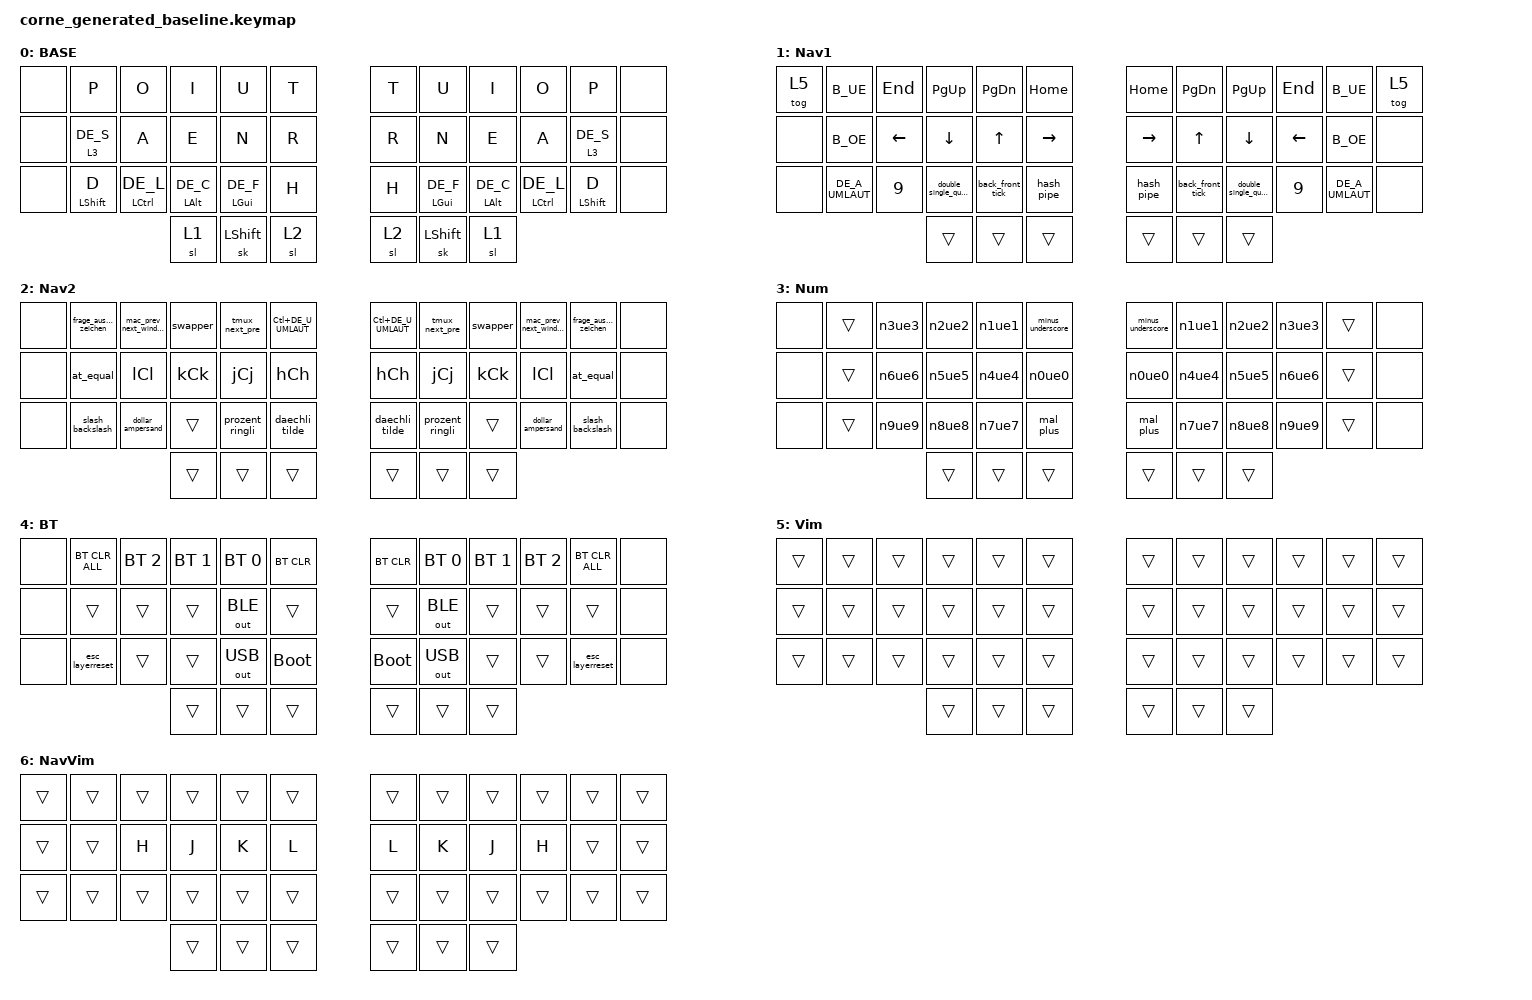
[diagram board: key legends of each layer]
#include "keys_de_swiss.h"
#include <behaviors.dtsi>
#include <dt-bindings/zmk/bt.h>
#include <dt-bindings/zmk/keys.h>
#include <dt-bindings/zmk/outputs.h>

//&default_transform { col-offset = <0>; };

#define BASE 0
#define NAV  1
#define SYM  2
#define ADJ  3

/ {
    combos {
        compatible = "zmk,combos";

        // BEGIN combos
        horiz_base_0_1 {
            bindings = <&kp DE_X>;
            key-positions = <1 2>;
            layers = <0>;
        };

        horiz_base_0_2 {
            bindings = <&kp DE_W>;
            key-positions = <2 3>;
            layers = <0>;
        };

        horiz_base_0_3 {
            bindings = <&kp DE_M>;
            key-positions = <3 4>;
            layers = <0>;
        };

        horiz_base_0_4 {
            bindings = <&kp DE_Z>;
            key-positions = <4 5>;
            layers = <0>;
        };

        horiz_base_0_7 {
            bindings = <&kp DE_Z>;
            key-positions = <7 6>;
            layers = <0>;
        };

        horiz_base_0_8 {
            bindings = <&kp DE_M>;
            key-positions = <8 7>;
            layers = <0>;
        };

        horiz_base_0_9 {
            bindings = <&kp DE_W>;
            key-positions = <9 8>;
            layers = <0>;
        };

        horiz_base_0_10 {
            bindings = <&kp DE_X>;
            key-positions = <10 9>;
            layers = <0>;
        };

        horiz_base_1_1 {
            bindings = <&kp DE_Q>;
            key-positions = <13 14>;
            layers = <0>;
        };

        horiz_base_1_2 {
            bindings = <&kp TAB>;
            key-positions = <14 15>;
            layers = <0>;
        };

        horiz_base_1_3 {
            bindings = <&kp DE_V>;
            key-positions = <15 16>;
            layers = <0>;
        };

        horiz_base_1_4 {
            bindings = <&kp DE_G>;
            key-positions = <16 17>;
            layers = <0>;
        };

        horiz_base_1_7 {
            bindings = <&kp DE_G>;
            key-positions = <19 18>;
            layers = <0>;
        };

        horiz_base_1_8 {
            bindings = <&kp DE_V>;
            key-positions = <20 19>;
            layers = <0>;
        };

        horiz_base_1_9 {
            bindings = <&kp TAB>;
            key-positions = <21 20>;
            layers = <0>;
        };

        horiz_base_1_10 {
            bindings = <&kp DE_Q>;
            key-positions = <22 21>;
            layers = <0>;
        };

        horiz_base_2_1 {
            bindings = <&kp DE_Y>;
            key-positions = <25 26>;
            layers = <0>;
        };

        horiz_base_2_2 {
            bindings = <&kp DE_K>;
            key-positions = <26 27>;
            layers = <0>;
        };

        horiz_base_2_3 {
            bindings = <&kp DE_J>;
            key-positions = <27 28>;
            layers = <0>;
        };

        horiz_base_2_4 {
            bindings = <&kp DE_B>;
            key-positions = <28 29>;
            layers = <0>;
        };

        horiz_base_2_7 {
            bindings = <&kp DE_B>;
            key-positions = <31 30>;
            layers = <0>;
        };

        horiz_base_2_8 {
            bindings = <&kp DE_J>;
            key-positions = <32 31>;
            layers = <0>;
        };

        horiz_base_2_9 {
            bindings = <&kp DE_K>;
            key-positions = <33 32>;
            layers = <0>;
        };

        horiz_base_2_10 {
            bindings = <&kp DE_Y>;
            key-positions = <34 33>;
            layers = <0>;
        };

        vert_base_0_1 {
            bindings = <&backspace_delete>;
            key-positions = <1 13>;
            layers = <0>;
        };

        vert_base_0_2 {
            bindings = <&round_brackets>;
            key-positions = <2 14>;
            layers = <0>;
        };

        vert_base_0_3 {
            bindings = <&esc_layerreset>;
            key-positions = <3 15>;
            layers = <0>;
        };

        vert_base_0_4 {
            bindings = <&sk LEFT_ALT>;
            key-positions = <4 16>;
            layers = <0>;
        };

        vert_base_0_5 {
            bindings = <&sk LEFT_GUI>;
            key-positions = <5 17>;
            layers = <0>;
        };

        vert_base_0_6 {
            bindings = <&sk LEFT_GUI>;
            key-positions = <6 18>;
            layers = <0>;
        };

        vert_base_0_7 {
            bindings = <&sk LEFT_ALT>;
            key-positions = <7 19>;
            layers = <0>;
        };

        vert_base_0_8 {
            bindings = <&esc_layerreset>;
            key-positions = <8 20>;
            layers = <0>;
        };

        vert_base_0_9 {
            bindings = <&round_brackets>;
            key-positions = <9 21>;
            layers = <0>;
        };

        vert_base_0_10 {
            bindings = <&backspace_delete>;
            key-positions = <10 22>;
            layers = <0>;
        };

        vert_base_1_1 {
            bindings = <&kp ENTER>;
            key-positions = <13 25>;
            layers = <0>;
        };

        vert_base_1_2 {
            bindings = <&square_brackets>;
            key-positions = <14 26>;
            layers = <0>;
        };

        vert_base_1_3 {
            bindings = <&kp SPACE>;
            key-positions = <15 27>;
            layers = <0>;
        };

        vert_base_1_4 {
            bindings = <&caps_word>;
            key-positions = <16 28>;
            layers = <0>;
        };

        vert_base_1_5 {
            bindings = <&sk LCTRL>;
            key-positions = <17 29>;
            layers = <0>;
        };

        vert_base_1_6 {
            bindings = <&sk LCTRL>;
            key-positions = <18 30>;
            layers = <0>;
        };

        vert_base_1_7 {
            bindings = <&caps_word>;
            key-positions = <19 31>;
            layers = <0>;
        };

        vert_base_1_8 {
            bindings = <&kp SPACE>;
            key-positions = <20 32>;
            layers = <0>;
        };

        vert_base_1_9 {
            bindings = <&square_brackets>;
            key-positions = <21 33>;
            layers = <0>;
        };

        vert_base_1_10 {
            bindings = <&kp ENTER>;
            key-positions = <22 34>;
            layers = <0>;
        };

        diag_down_base_0_3 {
            bindings = <&punkt_doppelpunkt>;
            key-positions = <3 16>;
            layers = <0>;
        };

        diag_down_base_0_4 {
            bindings = <&curly_brackets>;
            key-positions = <4 17>;
            layers = <0>;
        };

        diag_down_base_0_7 {
            bindings = <&curly_brackets>;
            key-positions = <7 18>;
            layers = <0>;
        };

        diag_down_base_0_8 {
            bindings = <&punkt_doppelpunkt>;
            key-positions = <8 19>;
            layers = <0>;
        };

        diag_down_base_1_3 {
            bindings = <&komma_strickpunkt>;
            key-positions = <15 28>;
            layers = <0>;
        };

        diag_down_base_1_4 {
            bindings = <&angled_brackets>;
            key-positions = <16 29>;
            layers = <0>;
        };

        diag_down_base_1_7 {
            bindings = <&angled_brackets>;
            key-positions = <19 30>;
            layers = <0>;
        };

        diag_down_base_1_8 {
            bindings = <&komma_strickpunkt>;
            key-positions = <20 31>;
            layers = <0>;
        };

        diag_up_base_1_4 {
            bindings = <&curly_brackets>;
            key-positions = <16 3>;
            layers = <0>;
        };

        diag_up_base_1_7 {
            bindings = <&curly_brackets>;
            key-positions = <19 8>;
            layers = <0>;
        };

        diag_up_base_2_3 {
            bindings = <&kp SPACE>;
            key-positions = <27 14>;
            layers = <0>;
        };

        diag_up_base_2_8 {
            bindings = <&kp SPACE>;
            key-positions = <32 21>;
            layers = <0>;
        };

        toBT {
            bindings = <&to 4>;
            key-positions = <1 2 3 4>;
            layers = <0>;
        };

        ae {
            bindings = <&M_UPPER_AEOEUE DE_A_UMLAUT>;
            key-positions = <36 25 37>;
            layers = <0>;
        };
        // END combos
    };

    macros {
        // BEGIN macros
        esc_layerreset: esc_layerreset {
            compatible = "zmk,behavior-macro";
            #binding-cells = <0>;
            bindings = <&kp ESCAPE &to 0>;
        };

        daechli: daechli {
            compatible = "zmk,behavior-macro";
            #binding-cells = <0>;
            bindings = <&kp DE_CARET &kp SPACE>;
        };

        tilde: tilde {
            compatible = "zmk,behavior-macro";
            #binding-cells = <0>;
            bindings = <&kp LA(DE_N) &kp SPACE>;
        };

        M_UPPER_AEOEUE: AE {
            compatible = "zmk,behavior-macro-one-param";
            #binding-cells = <1>;
            bindings =
                <&kp CAPSLOCK>,
                <&macro_pause_for_release>,
                <&macro_param_1to1>,
                <&kp MACRO_PLACEHOLDER>,
                <&kp CAPSLOCK>;
            wait-ms = <80>;
            tap-ms = <80>;
        };

        M_UE: M_UE {
            compatible = "zmk,behavior-macro";
            #binding-cells = <0>;
            bindings = <&kp CAPSLOCK &kp DE_U_UMLAUT &kp CAPSLOCK>;
            wait-ms = <20>;
            tap-ms = <20>;
        };

        M_OE: M_OE {
            compatible = "zmk,behavior-macro";
            #binding-cells = <0>;
            bindings = <&kp CAPSLOCK &kp DE_O_UMLAUT &kp CAPSLOCK>;
            wait-ms = <100>;
            tap-ms = <100>;
        };

        backtick_macro: backtick_macro {
            compatible = "zmk,behavior-macro";
            #binding-cells = <0>;
            bindings = <&kp DE_GRAVE &kp SPACE>;
        };

        fronttick_macro: fronttick_macro {
            compatible = "zmk,behavior-macro";
            #binding-cells = <0>;
            bindings = <&kp RA(EQUAL) &kp SPACE>;
        };

        ue1: ue1 {
            compatible = "zmk,behavior-macro";
            #binding-cells = <0>;
            bindings = <&kp DE_U_UMLAUT &kp DE_N1>;
        };

        ue2: ue2 {
            compatible = "zmk,behavior-macro";
            #binding-cells = <0>;
            bindings = <&kp DE_U_UMLAUT &kp DE_N2>;
        };

        ue3: ue3 {
            compatible = "zmk,behavior-macro";
            #binding-cells = <0>;
            bindings = <&kp DE_U_UMLAUT &kp DE_N3>;
        };

        ue4: ue4 {
            compatible = "zmk,behavior-macro";
            #binding-cells = <0>;
            bindings = <&kp DE_U_UMLAUT &kp DE_N4>;
        };

        ue5: ue5 {
            compatible = "zmk,behavior-macro";
            #binding-cells = <0>;
            bindings = <&kp DE_U_UMLAUT &kp DE_N5>;
        };

        ue6: ue6 {
            compatible = "zmk,behavior-macro";
            #binding-cells = <0>;
            bindings = <&kp DE_U_UMLAUT &kp DE_N6>;
        };

        ue7: ue7 {
            compatible = "zmk,behavior-macro";
            #binding-cells = <0>;
            bindings = <&kp DE_U_UMLAUT &kp DE_N7>;
        };

        ue8: ue8 {
            compatible = "zmk,behavior-macro";
            #binding-cells = <0>;
            bindings = <&kp DE_U_UMLAUT &kp DE_N8>;
        };

        ue9: ue9 {
            compatible = "zmk,behavior-macro";
            #binding-cells = <0>;
            bindings = <&kp DE_U_UMLAUT &kp DE_N9>;
        };

        ue0: ue0 {
            compatible = "zmk,behavior-macro";
            #binding-cells = <0>;
            bindings = <&kp DE_U_UMLAUT &kp DE_N0>;
        };

        tmux_next_window: tmux_next_window {
            compatible = "zmk,behavior-macro";
            #binding-cells = <0>;
            bindings = <&kp DE_U_UMLAUT &kp DE_N>;
        };

        tmux_prev_window: tmux_prev_window {
            compatible = "zmk,behavior-macro";
            #binding-cells = <0>;
            bindings = <&kp DE_U_UMLAUT &kp DE_P>;
        };
        // END macros
    };

    behaviors {
        // BEGIN behaviors
        lh_ht: lh_ht {
            compatible = "zmk,behavior-hold-tap";
            #binding-cells = <2>;
            bindings = <&kp>, <&kp>;
            hold-trigger-key-positions = <6 7 8 9 10 11 18 19 20 21 22 23 30 31 32 33 34 35>;
            flavor = "balanced";
            hold-trigger-on-release;
            quick-tap-ms = <150>;
            global-quick-tap;
            tapping-term-ms = <200>;
        };

        rh_ht: rh_ht {
            compatible = "zmk,behavior-hold-tap";
            #binding-cells = <2>;
            bindings = <&kp>, <&kp>;
            hold-trigger-key-positions = <0 1 2 3 4 5 12 13 14 15 16 17 24 25 26 27 28 29>;
            flavor = "balanced";
            hold-trigger-on-release;
            quick-tap-ms = <150>;
            global-quick-tap;
            tapping-term-ms = <200>;
        };

        square_brackets: square_brackets {
            compatible = "zmk,behavior-mod-morph";
            #binding-cells = <0>;
            bindings = <&kp LA(DE_N5)>, <&kp LA(DE_N6)>;
            mods = <(MOD_LSFT)>;
        };

        round_brackets: round_brackets {
            compatible = "zmk,behavior-mod-morph";
            #binding-cells = <0>;
            bindings = <&kp LS(DE_N8)>, <&kp LS(DE_N9)>;
            mods = <(MOD_LSFT)>;
        };

        angled_brackets: angled_brackets {
            compatible = "zmk,behavior-mod-morph";
            #binding-cells = <0>;
            bindings = <&kp DE_LESS_THAN>, <&kp DE_GREATER_THAN>;
            mods = <(MOD_LSFT)>;
        };

        curly_brackets: curly_brackets {
            compatible = "zmk,behavior-mod-morph";
            #binding-cells = <0>;
            bindings = <&kp LA(DE_N8)>, <&kp LA(DE_N9)>;
            mods = <(MOD_LSFT)>;
        };

        backspace_delete: backspace_delete {
            compatible = "zmk,behavior-mod-morph";
            #binding-cells = <0>;
            bindings = <&kp BACKSPACE>, <&kp DELETE>;
            mods = <(MOD_LSFT)>;
        };

        double_single_quote: double_single_quote {
            compatible = "zmk,behavior-mod-morph";
            #binding-cells = <0>;
            bindings = <&kp DE_DOUBLE_QUOTES>, <&kp MINUS>;
            mods = <(MOD_LSFT)>;
        };

        back_front_tick: back_front_tick {
            compatible = "zmk,behavior-mod-morph";
            #binding-cells = <0>;
            bindings = <&backtick_macro>, <&fronttick_macro>;
            mods = <(MOD_LSFT)>;
        };

        punkt_doppelpunkt: punkt_doppelpunkt {
            compatible = "zmk,behavior-mod-morph";
            #binding-cells = <0>;
            bindings = <&kp DE_DOT>, <&kp DE_COLON>;
            mods = <(MOD_LSFT)>;
        };

        komma_strickpunkt: komma_strickpunkt {
            compatible = "zmk,behavior-mod-morph";
            #binding-cells = <0>;
            bindings = <&kp DE_COMMA>, <&kp DE_SEMICOLON>;
            mods = <(MOD_LSFT)>;
        };

        frage_ausrufe_zeichen: frage_ausrufe_zeichen {
            compatible = "zmk,behavior-mod-morph";
            #binding-cells = <0>;
            bindings = <&kp DE_QUESTION>, <&kp DE_EXCLAMATION>;
            mods = <(MOD_LSFT)>;
        };

        daechli_tilde: daechli_tilde {
            compatible = "zmk,behavior-mod-morph";
            #binding-cells = <0>;
            bindings = <&daechli>, <&tilde>;
            mods = <(MOD_LSFT)>;
        };

        prozent_ringli: prozent_ringli {
            compatible = "zmk,behavior-mod-morph";
            #binding-cells = <0>;
            bindings = <&kp DE_PERCENT>, <&kp LS(NON_US_BSLH)>;
            mods = <(MOD_LSFT)>;
        };

        hash_pipe: hash_pipe {
            compatible = "zmk,behavior-mod-morph";
            #binding-cells = <0>;
            bindings = <&kp DE_HASH>, <&kp DE_PIPE>;
            mods = <(MOD_LSFT)>;
        };

        at_equal: at_equal {
            compatible = "zmk,behavior-mod-morph";
            #binding-cells = <0>;
            bindings = <&kp LA(DE_G)>, <&kp DE_EQUAL>;
            mods = <(MOD_LSFT)>;
        };

        dollar_ampersand: dollar_ampersand {
            compatible = "zmk,behavior-mod-morph";
            #binding-cells = <0>;
            bindings = <&kp DE_DOLLAR>, <&kp DE_AMPERSAND>;
            mods = <(MOD_LSFT)>;
        };

        slash_backslash: slash_backslash {
            compatible = "zmk,behavior-mod-morph";
            #binding-cells = <0>;
            bindings = <&kp DE_SLASH>, <&kp LS(LA(DE_N7))>;
            mods = <(MOD_LSFT)>;
        };

        mal_plus: mal_plus {
            compatible = "zmk,behavior-mod-morph";
            #binding-cells = <0>;
            bindings = <&kp DE_ASTERISK>, <&kp DE_PLUS>;
            mods = <(MOD_LSFT)>;
        };

        minus_underscore: minus_underscore {
            compatible = "zmk,behavior-mod-morph";
            #binding-cells = <0>;
            bindings = <&kp DE_MINUS>, <&kp DE_UNDER>;
            mods = <(MOD_LSFT)>;
        };

        B_AE: B_AE {
            compatible = "zmk,behavior-mod-morph";
            #binding-cells = <0>;
            bindings = <&kp DE_A_UMLAUT>, <&M_UPPER_AEOEUE DE_A_UMLAUT>;
            mods = <(MOD_LSFT)>;
        };

        B_UE: B_UE {
            compatible = "zmk,behavior-mod-morph";
            #binding-cells = <0>;
            bindings = <&kp DE_U_UMLAUT>, <&M_UE>;
            mods = <(MOD_LSFT)>;
        };

        B_OE: B_OE {
            compatible = "zmk,behavior-mod-morph";
            #binding-cells = <0>;
            bindings = <&kp DE_O_UMLAUT>, <&M_OE>;
            mods = <(MOD_LSFT)>;
        };

        hCh: hCh {
            compatible = "zmk,behavior-mod-morph";
            #binding-cells = <0>;
            bindings = <&kp DE_H>, <&kp LC(DE_H)>;
            mods = <(MOD_LSFT)>;
        };

        jCj: jCj {
            compatible = "zmk,behavior-mod-morph";
            #binding-cells = <0>;
            bindings = <&kp DE_J>, <&kp LC(DE_J)>;
            mods = <(MOD_LSFT)>;
        };

        kCk: kCk {
            compatible = "zmk,behavior-mod-morph";
            #binding-cells = <0>;
            bindings = <&kp DE_K>, <&kp LC(DE_K)>;
            mods = <(MOD_LSFT)>;
        };

        lCl: lCl {
            compatible = "zmk,behavior-mod-morph";
            #binding-cells = <0>;
            bindings = <&kp DE_L>, <&kp LC(DE_L)>;
            mods = <(MOD_LSFT)>;
        };

        n0ue0: n0ue0 {
            compatible = "zmk,behavior-mod-morph";
            #binding-cells = <0>;
            bindings = <&kp DE_N0>, <&ue0>;
            mods = <(MOD_LSFT)>;
        };

        n1ue1: n1ue1 {
            compatible = "zmk,behavior-mod-morph";
            #binding-cells = <0>;
            bindings = <&kp DE_N1>, <&ue1>;
            mods = <(MOD_LSFT)>;
        };

        n2ue2: n2ue2 {
            compatible = "zmk,behavior-mod-morph";
            #binding-cells = <0>;
            bindings = <&kp DE_N2>, <&ue2>;
            mods = <(MOD_LSFT)>;
        };

        n3ue3: n3ue3 {
            compatible = "zmk,behavior-mod-morph";
            #binding-cells = <0>;
            bindings = <&kp DE_N3>, <&ue3>;
            mods = <(MOD_LSFT)>;
        };

        n4ue4: n4ue4 {
            compatible = "zmk,behavior-mod-morph";
            #binding-cells = <0>;
            bindings = <&kp DE_N4>, <&ue4>;
            mods = <(MOD_LSFT)>;
        };

        n5ue5: n5ue5 {
            compatible = "zmk,behavior-mod-morph";
            #binding-cells = <0>;
            bindings = <&kp DE_N5>, <&ue5>;
            mods = <(MOD_LSFT)>;
        };

        n6ue6: n6ue6 {
            compatible = "zmk,behavior-mod-morph";
            #binding-cells = <0>;
            bindings = <&kp DE_N6>, <&ue6>;
            mods = <(MOD_LSFT)>;
        };

        n7ue7: n7ue7 {
            compatible = "zmk,behavior-mod-morph";
            #binding-cells = <0>;
            bindings = <&kp DE_N7>, <&ue7>;
            mods = <(MOD_LSFT)>;
        };

        n8ue8: n8ue8 {
            compatible = "zmk,behavior-mod-morph";
            #binding-cells = <0>;
            bindings = <&kp DE_N8>, <&ue8>;
            mods = <(MOD_LSFT)>;
        };

        n9ue9: n9ue9 {
            compatible = "zmk,behavior-mod-morph";
            #binding-cells = <0>;
            bindings = <&kp DE_N9>, <&ue9>;
            mods = <(MOD_LSFT)>;
        };

        tmux_next_pre: tmux_next_pre {
            compatible = "zmk,behavior-mod-morph";
            #binding-cells = <0>;
            bindings = <&tmux_next_window>, <&tmux_prev_window>;
            mods = <(MOD_LSFT)>;
        };

        mac_next_prev_app: mac_next_prev_app {
            compatible = "zmk,behavior-mod-morph";
            #binding-cells = <0>;
            bindings = <&kp LG(TAB)>, <&kp LG(LS(TAB))>;
            mods = <(MOD_LSFT)>;
        };

        mac_prev_next_window: mac_prev_next_window {
            compatible = "zmk,behavior-mod-morph";
            #binding-cells = <0>;
            bindings = <&kp LC(F9)>, <&kp LS(LC(F9))>;
            mods = <(MOD_LSFT)>;
        };

        swapper: swapper {
            compatible = "zmk,behavior-smart-toggle";
            #binding-cells = <0>;
            bindings = <&kp LGUI>, <&kp TAB>;
            ignored-key-positions = <37>;
        };
        // END behaviors
    };

    keymap {
        compatible = "zmk,keymap";

        // BEGIN keymap
        BASE {
            display-name = "BASE";
            bindings = <
&none &kp P &kp O &kp I &kp U &kp T &kp T &kp U &kp I &kp O &kp P &none
&none &lt 3 DE_S &kp A &kp E &kp N &kp R &kp R &kp N &kp E &kp A &lt 3 DE_S &none
&none &lh_ht LEFT_SHIFT D &lh_ht LCTRL DE_L &lh_ht LEFT_ALT DE_C &lh_ht LEFT_GUI DE_F &kp H &kp H &rh_ht LEFT_GUI DE_F &rh_ht LEFT_ALT DE_C &rh_ht LCTRL DE_L &rh_ht LEFT_SHIFT D &none
&sl 1 &sk LEFT_SHIFT &sl 2 &sl 2 &sk LEFT_SHIFT &sl 1
            >;
        };

        Nav1 {
            display-name = "Nav1";
            bindings = <
&tog 5 &B_UE &kp END &kp PG_UP &kp PG_DN &kp HOME &kp HOME &kp PG_DN &kp PG_UP &kp END &B_UE &tog 5
&none &B_OE &kp LEFT_ARROW &kp DOWN &kp UP &kp RIGHT_ARROW &kp RIGHT_ARROW &kp UP &kp DOWN &kp LEFT_ARROW &B_OE &none
&none &kp DE_A_UMLAUT &kp N9 &double_single_quote &back_front_tick &hash_pipe &hash_pipe &back_front_tick &double_single_quote &kp N9 &kp DE_A_UMLAUT &none
&trans &trans &trans &trans &trans &trans
            >;
        };

        Nav2 {
            display-name = "Nav2";
            bindings = <
&none &frage_ausrufe_zeichen &mac_prev_next_window &swapper &tmux_next_pre &kp LC(DE_U_UMLAUT) &kp LC(DE_U_UMLAUT) &tmux_next_pre &swapper &mac_prev_next_window &frage_ausrufe_zeichen &none
&none &at_equal &lCl &kCk &jCj &hCh &hCh &jCj &kCk &lCl &at_equal &none
&none &slash_backslash &dollar_ampersand &trans &prozent_ringli &daechli_tilde &daechli_tilde &prozent_ringli &trans &dollar_ampersand &slash_backslash &none
&trans &trans &trans &trans &trans &trans
            >;
        };

        Num {
            display-name = "Num";
            bindings = <
&none &trans &n3ue3 &n2ue2 &n1ue1 &minus_underscore &minus_underscore &n1ue1 &n2ue2 &n3ue3 &trans &none
&none &trans &n6ue6 &n5ue5 &n4ue4 &n0ue0 &n0ue0 &n4ue4 &n5ue5 &n6ue6 &trans &none
&none &trans &n9ue9 &n8ue8 &n7ue7 &mal_plus &mal_plus &n7ue7 &n8ue8 &n9ue9 &trans &none
&trans &trans &trans &trans &trans &trans
            >;
        };

        BT {
            display-name = "BT";
            bindings = <
&none &bt BT_CLR_ALL &bt BT_SEL 2 &bt BT_SEL 1 &bt BT_SEL 0 &bt BT_CLR &bt BT_CLR &bt BT_SEL 0 &bt BT_SEL 1 &bt BT_SEL 2 &bt BT_CLR_ALL &none
&none &trans &trans &trans &out OUT_BLE &trans &trans &out OUT_BLE &trans &trans &trans &none
&none &esc_layerreset &trans &trans &out OUT_USB &bootloader &bootloader &out OUT_USB &trans &trans &esc_layerreset &none
&trans &trans &trans &trans &trans &trans
            >;
        };

        Vim {
            display-name = "Vim";
            bindings = <
&trans &trans &trans &trans &trans &trans &trans &trans &trans &trans &trans &trans
&trans &trans &trans &trans &trans &trans &trans &trans &trans &trans &trans &trans
&trans &trans &trans &trans &trans &trans &trans &trans &trans &trans &trans &trans
&trans &trans &trans &trans &trans &trans
            >;
        };

        NavVim {
            display-name = "NavVim";
            bindings = <
&trans &trans &trans &trans &trans &trans &trans &trans &trans &trans &trans &trans
&trans &trans &kp H &kp J &kp K &kp L &kp L &kp K &kp J &kp H &trans &trans
&trans &trans &trans &trans &trans &trans &trans &trans &trans &trans &trans &trans
&trans &trans &trans &trans &trans &trans
            >;
        };
        // END keymap
    };

    conditional_layers {
        compatible = "zmk,conditional-layers";

        BT {
            if-layers = <1 2>;
            then-layer = <4>;
        };

        NavVim {
            if-layers = <1 5>;
            then-layer = <6>;
        };
    };
};
